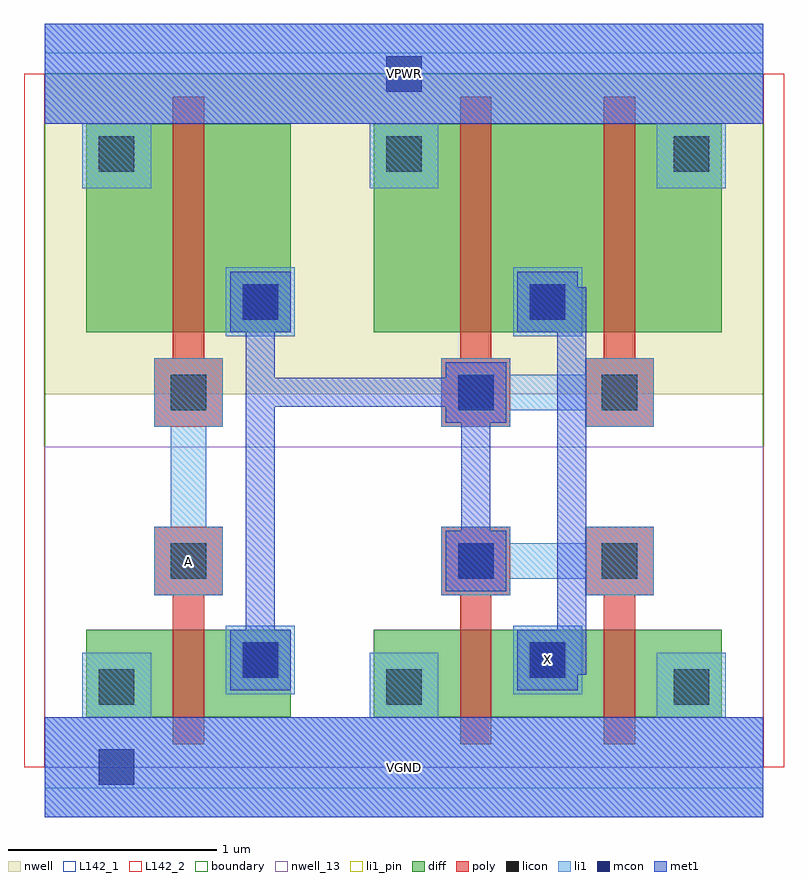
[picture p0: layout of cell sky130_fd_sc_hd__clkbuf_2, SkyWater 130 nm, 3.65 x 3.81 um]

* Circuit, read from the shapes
.subckt sky130_fd_sc_hd__clkbuf_2 A VGND VPWR X
XM1 n1 A VGND VSUBS sky130_fd_pr__nfet_01v8 w=0.42 l=0.15
XM2 X n1 VGND VSUBS sky130_fd_pr__nfet_01v8 w=0.42 l=0.15 m=2
XM3 n1 A VPWR n2 sky130_fd_pr__pfet_01v8 w=1 l=0.15
XM4 X n1 VPWR n2 sky130_fd_pr__pfet_01v8 w=1 l=0.15 m=2
.ends

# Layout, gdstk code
import gdstk
lib = gdstk.Library(unit=1e-6, precision=1e-09)
def R(c, l, rs):  # rectangles x0, y0, x1, y1
    for r in rs: c.add(gdstk.rectangle(r[:2], r[2:], *l))
def A(c, l, x, y, w, h, nx, ny, dx, dy):  # array of equal rectangles
    R(c, l, [(x+i*dx, y+j*dy, x+i*dx+w, y+j*dy+h) for i in range(nx) for j in range(ny)])
def P(c, l, *ps):  # polygons
    for p in ps: c.add(gdstk.Polygon(p, *l))
nwell_13 = (64, 13)
nwell = (64, 20)
diff = (65, 20)
poly = (66, 20)
licon = (66, 44)
li1_pin = (67, 16)
li1 = (67, 20)
mcon = (67, 44)
met1 = (68, 20)
L142_1 = (142, 1)
L142_2 = (142, 2)
boundary = (235, 4)

sky130_fd_sc_hd__clkbuf_ = lib.new_cell('sky130_fd_sc_hd__clkbuf_2')
R(sky130_fd_sc_hd__clkbuf_, nwell_13, [(0,0,3.45,1.54)])
R(sky130_fd_sc_hd__clkbuf_, nwell, [(0,1.79,3.45,3.33)])
R(sky130_fd_sc_hd__clkbuf_, diff, [(0.2,0.24,1.18,0.66), (0.2,0.24,0.615,0.66), (0.615,0.24,1.18,0.66), (1.58,0.24,3.25,0.66), (1.58,0.24,1.995,0.66), (1.995,0.24,2.685,0.66), (2.685,0.24,3.25,0.66), (0.2,2.09,1.18,3.09), (0.2,2.09,0.615,3.09), (0.615,2.09,1.18,3.09), (1.58,2.09,3.25,3.09), (1.58,2.09,1.995,3.09), (1.995,2.09,2.685,3.09), (2.685,2.09,3.25,3.09)])
P(sky130_fd_sc_hd__clkbuf_, poly, [(0.615,0.11),(0.615,0.825),(0.525,0.825),(0.525,1.155),(0.855,1.155),(0.855,0.825),(0.765,0.825),(0.765,0.11)],
  [(0.525,1.635),(0.525,1.965),(0.615,1.965),(0.615,3.22),(0.765,3.22),(0.765,1.965),(0.855,1.965),(0.855,1.635)],
  [(1.995,0.11),(1.995,0.825),(1.905,0.825),(1.905,1.155),(2.235,1.155),(2.235,0.825),(2.145,0.825),(2.145,0.11)],
  [(2.685,0.11),(2.685,0.825),(2.595,0.825),(2.595,1.155),(2.925,1.155),(2.925,0.825),(2.835,0.825),(2.835,0.11)],
  [(1.905,1.635),(1.905,1.965),(1.995,1.965),(1.995,3.22),(2.145,3.22),(2.145,1.965),(2.235,1.965),(2.235,1.635)],
  [(2.595,1.635),(2.595,1.965),(2.685,1.965),(2.685,3.22),(2.835,3.22),(2.835,1.965),(2.925,1.965),(2.925,1.635)])
A(sky130_fd_sc_hd__clkbuf_, licon, 0.26, 0.3, 0.17, 0.17, 3, 2, 1.38, 2.56)
R(sky130_fd_sc_hd__clkbuf_, licon, [(0.95,0.43,1.12,0.6), (2.33,0.43,2.5,0.6), (0.605,0.905,0.775,1.075), (1.985,0.905,2.155,1.075), (2.675,0.905,2.845,1.075), (0.605,1.715,0.775,1.885), (1.985,1.715,2.155,1.885), (2.675,1.715,2.845,1.885), (0.95,2.15,1.12,2.32), (2.33,2.15,2.5,2.32)])
R(sky130_fd_sc_hd__clkbuf_, li1_pin, [(0,-0.24,3.45,0.24), (2.25,0.35,2.58,0.68), (0,3.09,3.45,3.57)])
P(sky130_fd_sc_hd__clkbuf_, li1_pin, [(0.525,0.825),(0.525,1.155),(0.605,1.155),(0.605,1.635),(0.525,1.635),(0.525,1.965),(0.855,1.965),(0.855,1.635),(0.775,1.635),(0.775,1.155),(0.855,1.155),(0.855,0.825)])
R(sky130_fd_sc_hd__clkbuf_, li1, [(0.87,0.35,1.2,0.68), (2.25,0.35,2.58,0.68), (0.87,2.07,1.2,2.4), (2.25,2.07,2.58,2.4)])
P(sky130_fd_sc_hd__clkbuf_, li1, [(0.18,2.78),(0.18,3.09),(0,3.09),(0,3.57),(3.45,3.57),(3.45,3.09),(3.27,3.09),(3.27,2.78),(2.94,2.78),(2.94,3.09),(1.89,3.09),(1.89,2.78),(1.56,2.78),(1.56,3.09),(0.51,3.09),(0.51,2.78)],
  [(0,-0.24),(0,0.24),(0.18,0.24),(0.18,0.55),(0.51,0.55),(0.51,0.24),(1.56,0.24),(1.56,0.55),(1.89,0.55),(1.89,0.24),(2.94,0.24),(2.94,0.55),(3.27,0.55),(3.27,0.24),(3.45,0.24),(3.45,-0.24)],
  [(0.525,0.825),(0.525,1.155),(0.605,1.155),(0.605,1.635),(0.525,1.635),(0.525,1.965),(0.855,1.965),(0.855,1.635),(0.775,1.635),(0.775,1.155),(0.855,1.155),(0.855,0.825)],
  [(1.905,0.825),(1.905,1.155),(2.235,1.155),(2.235,1.075),(2.595,1.075),(2.595,1.155),(2.925,1.155),(2.925,0.825),(2.595,0.825),(2.595,0.905),(2.235,0.905),(2.235,0.825)],
  [(1.905,1.635),(1.905,1.965),(2.235,1.965),(2.235,1.885),(2.595,1.885),(2.595,1.965),(2.925,1.965),(2.925,1.635),(2.595,1.635),(2.595,1.715),(2.235,1.715),(2.235,1.635)])
R(sky130_fd_sc_hd__clkbuf_, mcon, [(0.26,-0.085,0.43,0.085), (0.95,0.43,1.12,0.6), (2.33,0.43,2.5,0.6), (1.985,0.905,2.155,1.075), (1.985,1.715,2.155,1.885), (0.95,2.15,1.12,2.32), (2.33,2.15,2.5,2.32), (1.64,3.245,1.81,3.415)])
R(sky130_fd_sc_hd__clkbuf_, met1, [(0,-0.24,3.45,0.24), (0,3.09,3.45,3.57)])
P(sky130_fd_sc_hd__clkbuf_, met1, [(0.89,0.37),(0.89,0.66),(0.965,0.66),(0.965,2.09),(0.89,2.09),(0.89,2.38),(1.18,2.38),(1.18,2.09),(1.105,2.09),(1.105,1.87),(1.925,1.87),(1.925,1.945),(2.215,1.945),(2.215,1.655),(2.14,1.655),(2.14,1.135),(2.215,1.135),(2.215,0.845),(1.925,0.845),(1.925,1.135),(2,1.135),(2,1.655),(1.925,1.655),(1.925,1.73),(1.105,1.73),(1.105,0.66),(1.18,0.66),(1.18,0.37)],
  [(2.27,0.37),(2.27,0.66),(2.46,0.66),(2.46,2.09),(2.27,2.09),(2.27,2.38),(2.56,2.38),(2.56,2.305),(2.6,2.305),(2.6,0.445),(2.56,0.445),(2.56,0.37)])
R(sky130_fd_sc_hd__clkbuf_, L142_1, [(0,-0.1,3.45,0), (0,3.33,3.45,3.43)])
R(sky130_fd_sc_hd__clkbuf_, L142_2, [(-0.1,0,0,3.33), (3.45,0,3.55,3.33)])
R(sky130_fd_sc_hd__clkbuf_, boundary, [(0,0,3.45,3.33)])
sky130_fd_sc_hd__clkbuf_.add(gdstk.Label('X', (2.415,0.515), layer=67, texttype=5))
sky130_fd_sc_hd__clkbuf_.add(gdstk.Label('A', (0.69,0.99), layer=67, texttype=5))
sky130_fd_sc_hd__clkbuf_.add(gdstk.Label('VGND', (1.725,0), layer=67, texttype=5))
sky130_fd_sc_hd__clkbuf_.add(gdstk.Label('VPWR', (1.725,3.33), layer=67, texttype=5))
sky130_fd_sc_hd__clkbuf_.add(gdstk.Label('VGND', (1.725,0), layer=68, texttype=5))
sky130_fd_sc_hd__clkbuf_.add(gdstk.Label('VPWR', (1.725,3.33), layer=68, texttype=5))

lib.write_gds('sky130_fd_sc_hd__clkbuf_2.gds')
